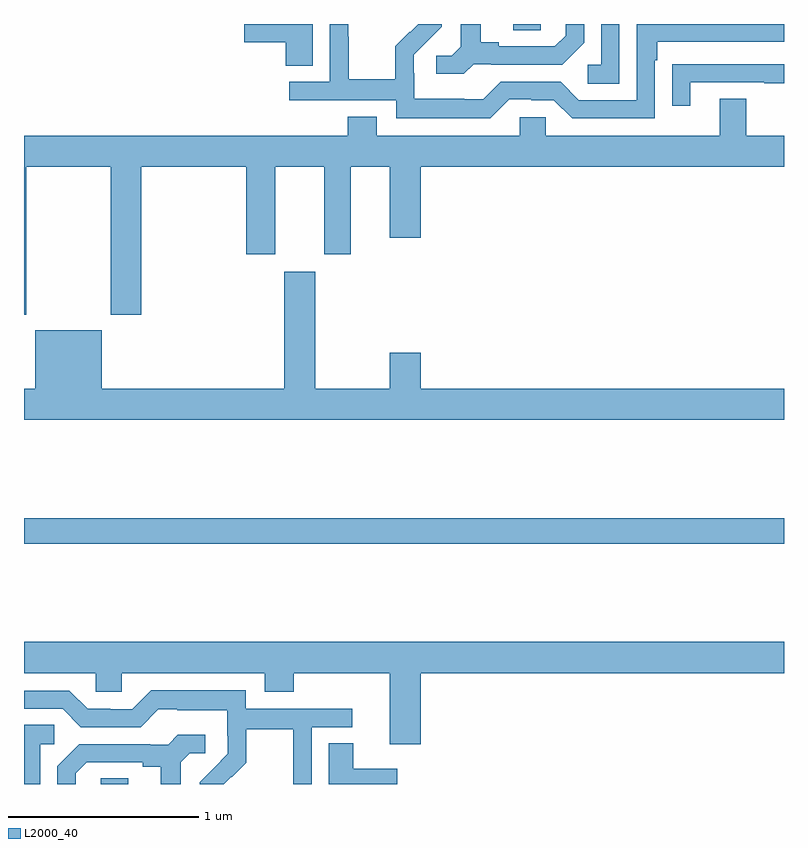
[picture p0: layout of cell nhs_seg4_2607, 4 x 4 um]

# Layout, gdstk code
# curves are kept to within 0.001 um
import gdstk
lib = gdstk.Library(unit=1e-6, precision=1e-09)
def R(c, l, rs):  # rectangles x0, y0, x1, y1
    for r in rs: c.add(gdstk.rectangle(r[:2], r[2:], *l))
def P(c, l, *ps):  # polygons
    for p in ps: c.add(gdstk.Polygon(p, *l))
L2000_40 = (2000, 40)

nhs_seg4_2607 = lib.new_cell('nhs_seg4_2607')
R(nhs_seg4_2607, L2000_40, [(247.404,798.9,247.549,798.929), (247,800.164,251,800.3), (249.575,802.867,249.72,802.9)])
P(nhs_seg4_2607, L2000_40, [(249.366,802.689),(249.46,802.689),(249.46,802.686),(249.832,802.686),(249.948,802.802),(249.948,802.9),(249.851,802.9),(249.851,802.839),(249.794,802.782),(249.499,802.782),(249.499,802.805),(249.403,802.805),(249.403,802.9),(249.299,802.9),(249.299,802.781),(249.252,802.734),(249.171,802.734),(249.171,802.637),(249.314,802.637)],
  [(250.134,802.9),(250.038,802.9),(250.038,802.686),(249.966,802.686),(249.966,802.585),(250.134,802.585)],
  [(248.521,802.9),(248.16,802.9),(248.16,802.805),(248.378,802.805),(248.378,802.681),(248.521,802.681)],
  [(249.555,802.503),(249.671,802.503),(249.671,802.5),(249.789,802.5),(249.885,802.404),(250.32,802.404),(250.32,802.709),(250.333,802.709),(250.333,802.806),(251,802.806),(251,802.9),(250.224,802.9),(250.224,802.5),(249.921,802.5),(249.825,802.596),(249.51,802.596),(249.417,802.503),(249.317,802.503),(249.317,802.507),(249.054,802.507),(249.054,802.641),(249.052,802.641),(249.052,802.738),(249.198,802.886),(249.198,802.9),(249.076,802.9),(249.033,802.857),(249.03,802.86),(248.953,802.783),(248.953,802.609),(248.709,802.609),(248.709,802.832),(248.706,802.832),(248.706,802.9),(248.61,802.9),(248.61,802.596),(248.397,802.596),(248.397,802.5),(248.958,802.5),(248.958,802.403),(249.455,802.403)],
  [(250.507,802.593),(250.897,802.593),(250.897,802.588),(251,802.588),(251,802.689),(250.513,802.689),(250.513,802.688),(250.411,802.688),(250.411,802.47),(250.507,802.47)],
  [(247.011,802.148),(247.456,802.148),(247.456,801.369),(247.616,801.369),(247.616,802.148),(248.171,802.148),(248.171,801.687),(248.323,801.687),(248.323,802.148),(248.579,802.148),(248.579,801.687),(248.719,801.687),(248.719,802.148),(248.924,802.148),(248.924,801.774),(249.088,801.774),(249.088,802.148),(251,802.148),(251,802.312),(250.801,802.312),(250.801,802.507),(250.661,802.507),(250.661,802.312),(249.747,802.312),(249.747,802.41),(249.609,802.41),(249.609,802.312),(248.857,802.312),(248.857,802.411),(248.705,802.411),(248.705,802.312),(247,802.312),(247,801.369),(247.011,801.369)],
  [(251,800.98),(249.088,800.98),(249.088,801.169),(248.924,801.169),(248.924,800.98),(248.533,800.98),(248.533,801.595),(248.369,801.595),(248.369,800.98),(247.408,800.98),(247.408,801.289),(247.058,801.289),(247.058,800.98),(247,800.98),(247,800.816),(251,800.816)],
  [(249.088,799.484),(251,799.484),(251,799.648),(247,799.648),(247,799.484),(247.377,799.484),(247.377,799.386),(247.515,799.386),(247.515,799.484),(248.267,799.484),(248.267,799.385),(248.42,799.385),(248.42,799.484),(248.924,799.484),(248.924,799.11),(249.088,799.11)],
  [(248.091,798.939),(248.094,798.936),(248.171,799.013),(248.171,799.188),(248.416,799.188),(248.416,798.964),(248.418,798.964),(248.418,798.9),(248.514,798.9),(248.514,799.2),(248.728,799.2),(248.728,799.296),(248.166,799.296),(248.166,799.393),(247.669,799.393),(247.569,799.293),(247.454,799.293),(247.454,799.296),(247.335,799.296),(247.239,799.392),(247,799.392),(247,799.296),(247.203,799.296),(247.299,799.2),(247.614,799.2),(247.707,799.293),(247.807,799.293),(247.807,799.289),(248.07,799.289),(248.07,799.155),(248.072,799.155),(248.072,799.058),(247.926,798.91),(247.926,798.9),(248.052,798.9)],
  [(247.086,799.11),(247.159,799.11),(247.159,799.211),(247,799.211),(247,798.9),(247.086,798.9)],
  [(247.273,798.957),(247.33,799.014),(247.625,799.014),(247.625,798.992),(247.721,798.992),(247.721,798.9),(247.825,798.9),(247.825,799.015),(247.872,799.062),(247.954,799.062),(247.954,799.159),(247.81,799.159),(247.758,799.107),(247.664,799.107),(247.664,799.11),(247.292,799.11),(247.176,798.994),(247.176,798.9),(247.273,798.9)],
  [(248.965,798.979),(248.734,798.979),(248.734,799.115),(248.603,799.115),(248.603,798.9),(248.965,798.9)])

lib.write_gds('nhs_seg4_2607.gds')
